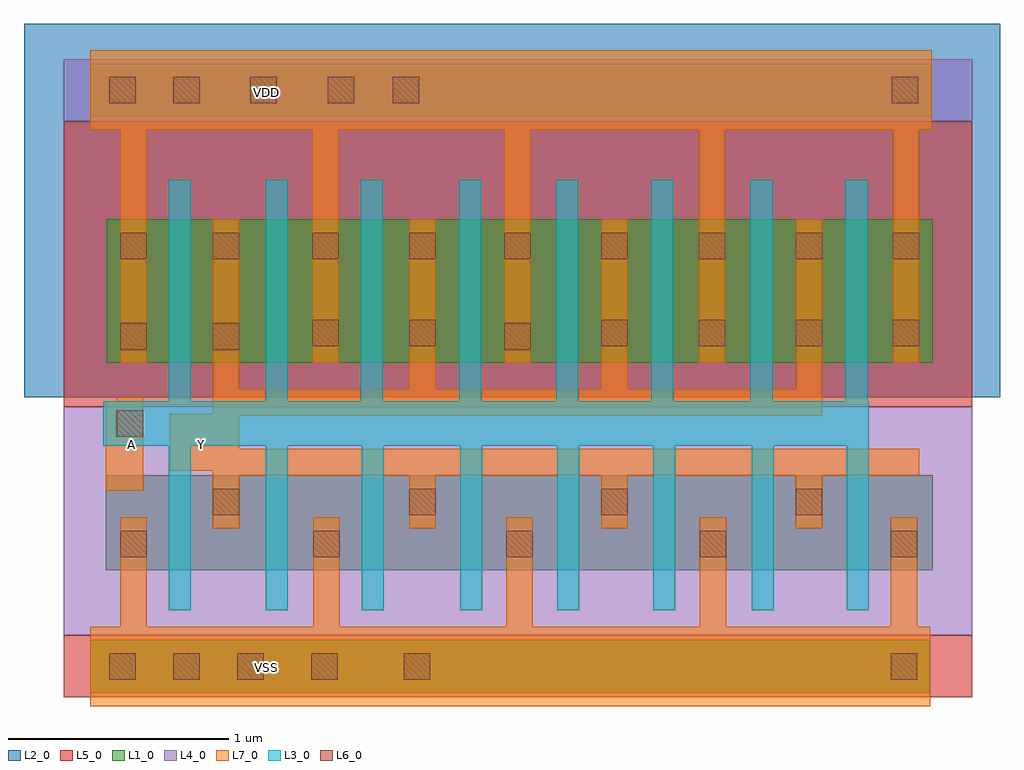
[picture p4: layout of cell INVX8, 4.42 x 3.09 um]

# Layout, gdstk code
import gdstk
lib = gdstk.Library(unit=1e-6, precision=1e-09)
def R(c, l, rs):  # rectangles x0, y0, x1, y1
    for r in rs: c.add(gdstk.rectangle(r[:2], r[2:], *l))
def A(c, l, x, y, w, h, nx, ny, dx, dy):  # array of equal rectangles
    R(c, l, [(x+i*dx, y+j*dy, x+i*dx+w, y+j*dy+h) for i in range(nx) for j in range(ny)])
L1_0 = (1, 0)
L2_0 = (2, 0)
L3_0 = (3, 0)
L4_0 = (4, 0)
L5_0 = (5, 0)
L6_0 = (6, 0)
L7_0 = (7, 0)

invx8 = lib.new_cell('INVX8')
R(invx8, L1_0, [(0.99,-0.375,4.795,-0.135), (1.06,0.18,4.805,0.61), (1.065,1.12,4.805,1.77), (0.99,2.235,4.8,2.475)])
R(invx8, L2_0, [(0.69,0.965,5.11,2.655)])
R(invx8, L3_0, [(1.345,0,1.445,0.745), (1.785,0,1.885,0.745), (2.22,0,2.32,0.745), (2.665,0,2.765,0.745), (3.105,0,3.205,0.745), (3.54,0,3.64,0.745), (3.985,0,4.085,0.745), (4.415,0,4.515,0.745), (1.05,0.745,4.515,0.945), (1.345,0.945,1.445,1.95), (1.785,0.945,1.885,1.95), (2.215,0.945,2.315,1.95), (2.66,0.945,2.76,1.95), (3.1,0.945,3.2,1.95), (3.53,0.945,3.63,1.95), (3.98,0.945,4.08,1.95), (4.41,0.945,4.51,1.95)])
R(invx8, L4_0, [(0.87,-0.115,4.985,0.92), (0.87,2.215,4.985,2.495)])
R(invx8, L5_0, [(0.87,-0.395,4.985,-0.115), (0.87,0.92,4.985,2.215)])
A(invx8, L6_0, 1.075, -0.315, 0.12, 0.12, 3, 1, 0.29, 0)
A(invx8, L6_0, 1.125, 0.24, 0.12, 0.12, 4, 1, 0.875, 0)
A(invx8, L6_0, 3.305, 1.195, 0.12, 0.12, 4, 1, 0.44, 0)
A(invx8, L6_0, 2.865, 1.59, 0.12, 0.12, 5, 1, 0.44, 0)
A(invx8, L6_0, 1.365, 2.295, 0.12, 0.12, 3, 1, 0.35, 0)
R(invx8, L6_0, [(1.99,-0.315,2.11,-0.195), (2.41,-0.315,2.53,-0.195), (4.615,-0.315,4.735,-0.195), (4.615,0.24,4.735,0.36), (1.545,0.43,1.665,0.55), (2.435,0.43,2.555,0.55), (3.305,0.43,3.425,0.55), (4.185,0.43,4.305,0.55), (1.11,0.785,1.23,0.905), (1.125,1.18,1.245,1.3), (1.545,1.18,1.665,1.3), (2.865,1.18,2.985,1.3), (1.995,1.195,2.115,1.315), (2.435,1.195,2.555,1.315), (1.125,1.59,1.245,1.71), (1.545,1.59,1.665,1.71), (1.995,1.59,2.115,1.71), (2.435,1.59,2.555,1.71), (1.075,2.295,1.195,2.415), (2.36,2.295,2.48,2.415), (4.62,2.295,4.74,2.415)])
A(invx8, L7_0, 1.125, -0.075, 0.12, 0.495, 4, 1, 0.875, 0)
A(invx8, L7_0, 1.125, 1.12, 0.12, 1.055, 3, 1, 0.87, 0)
R(invx8, L7_0, [(0.99,-0.435,4.795,-0.075), (4.615,-0.075,4.735,0.42), (1.545,0.37,1.665,0.63), (2.435,0.37,2.555,0.63), (3.305,0.37,3.425,0.63), (4.185,0.37,4.305,0.63), (1.06,0.54,1.23,0.945), (1.35,0.63,1.665,0.89), (1.545,0.89,1.665,1.77), (2.435,0.89,2.555,1.77), (3.305,0.89,3.425,1.77), (4.185,0.89,4.305,1.77), (1.11,0.945,1.23,0.965), (3.745,1.12,3.865,2.175), (4.625,1.12,4.745,2.175), (0.99,2.175,4.8,2.535)])
invx8.add(gdstk.FlexPath([(1.66,0.94),(4.305,0.94)], 0.12, ends="flush", simple_path=True, layer=7, datatype=0))  # L7_0
invx8.add(gdstk.FlexPath([(1.55,0.67),(4.745,0.67)], 0.12, ends="flush", simple_path=True, layer=7, datatype=0))  # L7_0
invx8.add(gdstk.Label('VDD', (1.79,2.345), layer=7, texttype=251))
invx8.add(gdstk.Label('VSS', (1.79,-0.26), layer=7, texttype=251))
invx8.add(gdstk.Label('A', (1.175,0.75), layer=7, texttype=251))
invx8.add(gdstk.Label('Y', (1.495,0.75), layer=7, texttype=251))

lib.write_gds('INVX8.gds')
